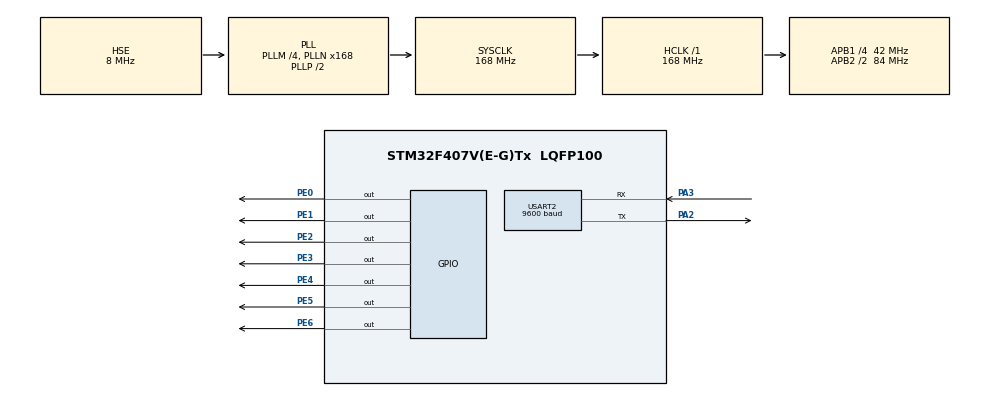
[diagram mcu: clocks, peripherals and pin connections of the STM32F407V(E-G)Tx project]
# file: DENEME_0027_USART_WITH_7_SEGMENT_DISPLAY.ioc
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Mcu.Family=STM32F4
Mcu.Name=STM32F407V(E-G)Tx
Mcu.Package=LQFP100
NVIC.PriorityGroup=NVIC_PRIORITYGROUP_4
PA2.Mode=Asynchronous
PA2.Signal=USART2_TX
PA3.Mode=Asynchronous
PA3.Signal=USART2_RX
PE0.Signal=GPIO_Output
PE1.Signal=GPIO_Output
PE2.Signal=GPIO_Output
PE3.Signal=GPIO_Output
PE4.Signal=GPIO_Output
PE5.Signal=GPIO_Output
PE6.Signal=GPIO_Output
PH0-OSC_IN.Mode=HSE-External-Oscillator
PH0-OSC_IN.Signal=RCC_OSC_IN
PH1-OSC_OUT.Mode=HSE-External-Oscillator
PH1-OSC_OUT.Signal=RCC_OSC_OUT
ProjectManager.HeapSize=0x200
ProjectManager.StackSize=0x400
ProjectManager.TargetToolchain=STM32CubeIDE
RCC.48MHZClocksFreq_Value=84000000
RCC.AHBFreq_Value=168000000
RCC.APB1CLKDivider=RCC_HCLK_DIV4
RCC.APB1Freq_Value=42000000
RCC.APB1TimFreq_Value=84000000
RCC.APB2CLKDivider=RCC_HCLK_DIV2
RCC.APB2Freq_Value=84000000
RCC.APB2TimFreq_Value=168000000
RCC.CortexFreq_Value=168000000
RCC.HCLKFreq_Value=168000000
RCC.HSE_VALUE=8000000
RCC.HSI_VALUE=16000000
RCC.LSE_VALUE=32768
RCC.PLLM=4
RCC.PLLN=168
RCC.PLLSourceVirtual=RCC_PLLSOURCE_HSE
RCC.SYSCLKFreq_VALUE=168000000
RCC.SYSCLKSource=RCC_SYSCLKSOURCE_PLLCLK
RCC.VCOOutputFreq_Value=336000000
USART2.BaudRate=9600
USART2.VirtualMode=VM_ASYNC
board=custom

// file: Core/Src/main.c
/* USER CODE BEGIN Header */
/**
  ******************************************************************************
  * @file           : main.c
  * @brief          : Main program body
  ******************************************************************************
  * @attention
  *
  * <h2><center>&copy; Copyright (c) 2021 STMicroelectronics.
  * All rights reserved.</center></h2>
  *
  * This software component is licensed by ST under BSD 3-Clause license,
  * the "License"; You may not use this file except in compliance with the
  * License. You may obtain a copy of the License at:
  *                        opensource.org/licenses/BSD-3-Clause
  *
  ******************************************************************************
  */
/* USER CODE END Header */
#include "main.h"

UART_HandleTypeDef huart2;

/* USER CODE BEGIN PV */
char rx_data[3] ;
/* USER CODE END PV */

void SystemClock_Config(void);
static void MX_GPIO_Init(void);
static void MX_USART2_UART_Init(void);

int main(void)
{

  /* MCU Configuration--------------------------------------------------------*/

  /* Reset of all peripherals, Initializes the Flash interface and the Systick. */
  HAL_Init();

  /* Configure the system clock */

  SystemClock_Config();

  /* Initialize all configured peripherals */
  MX_GPIO_Init();
  MX_USART2_UART_Init();

  /* Infinite loop */
  while (1)
  {

    /* USER CODE BEGIN 3 */

	  // Link of project video ------> https://drive.google.com/file/d/1IPJyvx_MvWErfN5fVbLxOmgMOblsSQMT/view?usp=sharing

	  HAL_UART_Receive(&huart2, (uint8_t*)rx_data, sizeof(rx_data) , 100); // Baud Rate 9600 bits/s
	  // !!! 7 Segment display is katot !!!
	  if (rx_data[0] == '0')
	  {
		  HAL_GPIO_WritePin(GPIOE, GPIO_PIN_All, GPIO_PIN_SET); // All pins off
		  HAL_GPIO_WritePin(GPIOE, GPIO_PIN_0 | GPIO_PIN_1 | GPIO_PIN_2 |GPIO_PIN_3 |GPIO_PIN_4 |GPIO_PIN_5 , GPIO_PIN_RESET);
	  }
	  else if (rx_data[0] == '1')
	  {
		  HAL_GPIO_WritePin(GPIOE, GPIO_PIN_All, GPIO_PIN_SET);
		  HAL_GPIO_WritePin(GPIOE, GPIO_PIN_1 | GPIO_PIN_2 , GPIO_PIN_RESET);
	  }
	  else if (rx_data[0] == '2')
	  {
		  HAL_GPIO_WritePin(GPIOE, GPIO_PIN_All, GPIO_PIN_SET);
		  HAL_GPIO_WritePin(GPIOE, GPIO_PIN_0 | GPIO_PIN_1 |GPIO_PIN_3 |GPIO_PIN_4 |GPIO_PIN_6 , GPIO_PIN_RESET);
	  }
	  else if (rx_data[0] == '3')
	  {
		  HAL_GPIO_WritePin(GPIOE, GPIO_PIN_All, GPIO_PIN_SET);
		  HAL_GPIO_WritePin(GPIOE, GPIO_PIN_0 | GPIO_PIN_1 |GPIO_PIN_3 |GPIO_PIN_2 |GPIO_PIN_6 , GPIO_PIN_RESET);
	  }
	  else if (rx_data[0] == '4')
	  {
		  HAL_GPIO_WritePin(GPIOE, GPIO_PIN_All, GPIO_PIN_SET);
		  HAL_GPIO_WritePin(GPIOE, GPIO_PIN_1 | GPIO_PIN_2 |GPIO_PIN_5 |GPIO_PIN_6 , GPIO_PIN_RESET);
	  }
	  else if (rx_data[0] == '5')
	  {
		  HAL_GPIO_WritePin(GPIOE, GPIO_PIN_All, GPIO_PIN_SET);
		  HAL_GPIO_WritePin(GPIOE, GPIO_PIN_0 | GPIO_PIN_2 |GPIO_PIN_3 |GPIO_PIN_5 |GPIO_PIN_6 , GPIO_PIN_RESET);
	  }
	  else if (rx_data[0] == '6')
	  {
		  HAL_GPIO_WritePin(GPIOE, GPIO_PIN_All, GPIO_PIN_SET);
		  HAL_GPIO_WritePin(GPIOE, GPIO_PIN_2 | GPIO_PIN_3 |GPIO_PIN_4 |GPIO_PIN_5 |GPIO_PIN_6 , GPIO_PIN_RESET);
	  }
	  else if (rx_data[0] == '7')
	  {
		  HAL_GPIO_WritePin(GPIOE, GPIO_PIN_All, GPIO_PIN_SET);
		  HAL_GPIO_WritePin(GPIOE, GPIO_PIN_0 | GPIO_PIN_1 |GPIO_PIN_2 , GPIO_PIN_RESET);
	  }
	  else if (rx_data[0] == '8')
	  {
		  HAL_GPIO_WritePin(GPIOE, GPIO_PIN_All, GPIO_PIN_SET);
		  HAL_GPIO_WritePin(GPIOE, GPIO_PIN_All, GPIO_PIN_RESET); // All pins on
	  }
	  else if (rx_data[0] == '9')
	  	  {
	  		  HAL_GPIO_WritePin(GPIOE, GPIO_PIN_All, GPIO_PIN_SET);
	  		  HAL_GPIO_WritePin(GPIOE, GPIO_PIN_0 | GPIO_PIN_1 |GPIO_PIN_2 |GPIO_PIN_5 |GPIO_PIN_6, GPIO_PIN_RESET);
	  	  }
	  else {
		  HAL_GPIO_WritePin(GPIOE, GPIO_PIN_All, GPIO_PIN_SET);
	  }

  }
  /* USER CODE END 3 */
}

void SystemClock_Config(void)
{
  RCC_OscInitTypeDef RCC_OscInitStruct = {0};
  RCC_ClkInitTypeDef RCC_ClkInitStruct = {0};

  /** Configure the main internal regulator output voltage
  */
  __HAL_RCC_PWR_CLK_ENABLE();
  __HAL_PWR_VOLTAGESCALING_CONFIG(PWR_REGULATOR_VOLTAGE_SCALE1);
  /** Initializes the RCC Oscillators according to the specified parameters
  * in the RCC_OscInitTypeDef structure.
  */
  RCC_OscInitStruct.OscillatorType = RCC_OSCILLATORTYPE_HSE;
  RCC_OscInitStruct.HSEState = RCC_HSE_ON;
  RCC_OscInitStruct.PLL.PLLState = RCC_PLL_ON;
  RCC_OscInitStruct.PLL.PLLSource = RCC_PLLSOURCE_HSE;
  RCC_OscInitStruct.PLL.PLLM = 4;
  RCC_OscInitStruct.PLL.PLLN = 168;
  RCC_OscInitStruct.PLL.PLLP = RCC_PLLP_DIV2;
  RCC_OscInitStruct.PLL.PLLQ = 4;
  if (HAL_RCC_OscConfig(&RCC_OscInitStruct) != HAL_OK)
  {
    Error_Handler();
  }
  /** Initializes the CPU, AHB and APB buses clocks
  */
  RCC_ClkInitStruct.ClockType = RCC_CLOCKTYPE_HCLK|RCC_CLOCKTYPE_SYSCLK
                              |RCC_CLOCKTYPE_PCLK1|RCC_CLOCKTYPE_PCLK2;
  RCC_ClkInitStruct.SYSCLKSource = RCC_SYSCLKSOURCE_PLLCLK;
  RCC_ClkInitStruct.AHBCLKDivider = RCC_SYSCLK_DIV1;
  RCC_ClkInitStruct.APB1CLKDivider = RCC_HCLK_DIV4;
  RCC_ClkInitStruct.APB2CLKDivider = RCC_HCLK_DIV2;

  if (HAL_RCC_ClockConfig(&RCC_ClkInitStruct, FLASH_LATENCY_5) != HAL_OK)
  {
    Error_Handler();
  }
}

static void MX_USART2_UART_Init(void)
{

  huart2.Instance = USART2;
  huart2.Init.BaudRate = 9600;
  huart2.Init.WordLength = UART_WORDLENGTH_8B;
  huart2.Init.StopBits = UART_STOPBITS_1;
  huart2.Init.Parity = UART_PARITY_NONE;
  huart2.Init.Mode = UART_MODE_TX_RX;
  huart2.Init.HwFlowCtl = UART_HWCONTROL_NONE;
  huart2.Init.OverSampling = UART_OVERSAMPLING_16;
  if (HAL_UART_Init(&huart2) != HAL_OK)
  {
    Error_Handler();
  }

}

static void MX_GPIO_Init(void)
{
  GPIO_InitTypeDef GPIO_InitStruct = {0};

  /* GPIO Ports Clock Enable */
  __HAL_RCC_GPIOE_CLK_ENABLE();
  __HAL_RCC_GPIOH_CLK_ENABLE();
  __HAL_RCC_GPIOA_CLK_ENABLE();

  /*Configure GPIO pin Output Level */
  HAL_GPIO_WritePin(GPIOE, GPIO_PIN_2|GPIO_PIN_3|GPIO_PIN_4|GPIO_PIN_5
                          |GPIO_PIN_6|GPIO_PIN_0|GPIO_PIN_1, GPIO_PIN_RESET);

  /*Configure GPIO pins : PE2 PE3 PE4 PE5
                           PE6 PE0 PE1 */
  GPIO_InitStruct.Pin = GPIO_PIN_2|GPIO_PIN_3|GPIO_PIN_4|GPIO_PIN_5
                          |GPIO_PIN_6|GPIO_PIN_0|GPIO_PIN_1;
  GPIO_InitStruct.Mode = GPIO_MODE_OUTPUT_PP;
  GPIO_InitStruct.Pull = GPIO_NOPULL;
  GPIO_InitStruct.Speed = GPIO_SPEED_FREQ_LOW;
  HAL_GPIO_Init(GPIOE, &GPIO_InitStruct);

}

void Error_Handler(void)
{
  __disable_irq();
  while (1)
  {
  }
}

/************************ (C) COPYRIGHT STMicroelectronics *****END OF FILE****/
